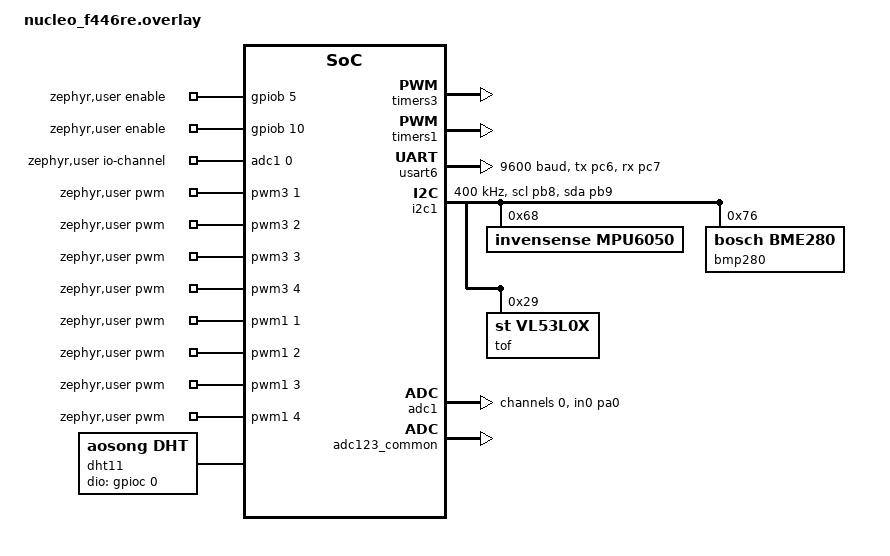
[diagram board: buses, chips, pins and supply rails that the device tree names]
#include <zephyr/dt-bindings/pwm/pwm.h>
#include <zephyr/dt-bindings/gpio/gpio.h>
#include <zephyr/dt-bindings/adc/adc.h>
#include <zephyr/dt-bindings/i2c/i2c.h>

/ {
	zephyr,user {
		/* 8 PWM lines, 20 kHz: FL_R FL_L FR_R FR_L RL_R RL_L RR_R RR_L */
		pwms = <&pwm3 1 PWM_HZ(20000) PWM_POLARITY_NORMAL>,   /* PA6  FL RPWM */
		       <&pwm3 2 PWM_HZ(20000) PWM_POLARITY_NORMAL>,   /* PA7  FL LPWM */
		       <&pwm3 3 PWM_HZ(20000) PWM_POLARITY_NORMAL>,   /* PB0  FR RPWM */
		       <&pwm3 4 PWM_HZ(20000) PWM_POLARITY_NORMAL>,   /* PB1  FR LPWM */
		       <&pwm1 1 PWM_HZ(20000) PWM_POLARITY_NORMAL>,   /* PA8  RL RPWM */
		       <&pwm1 2 PWM_HZ(20000) PWM_POLARITY_NORMAL>,   /* PA9  RL LPWM */
		       <&pwm1 3 PWM_HZ(20000) PWM_POLARITY_NORMAL>,   /* PA10 RR RPWM */
		       <&pwm1 4 PWM_HZ(20000) PWM_POLARITY_NORMAL>;   /* PA11 RR LPWM */

		/* index 0: R_EN on PB5, index 1: L_EN on PB10 */
		enable-gpios = <&gpiob 5 GPIO_ACTIVE_HIGH>,
			       <&gpiob 10 GPIO_ACTIVE_HIGH>;

		/* GPS on USART6: TX PC6, RX PC7 */
		gps-uart = <&usart6>;

		/* UV sensor on PA0 (ADC1 channel 0) */
		io-channels = <&adc1 0>;
	};

	/* DHT11 data pin on PC0 */
	dht11: dht11 {
		compatible = "aosong,dht";
		status = "okay";
		dio-gpios = <&gpioc 0 (GPIO_PULL_UP | GPIO_ACTIVE_HIGH)>;
	};
};

/* TIM3: front wheels */
&timers3 {
	status = "okay";

	pwm3: pwm {
		status = "okay";
		pinctrl-0 = <&tim3_ch1_pa6 &tim3_ch2_pa7 &tim3_ch3_pb0 &tim3_ch4_pb1>;
		pinctrl-names = "default";
	};
};

/* TIM1: rear wheels */
&timers1 {
	status = "okay";

	pwm1: pwm {
		status = "okay";
		pinctrl-0 = <&tim1_ch1_pa8 &tim1_ch2_pa9 &tim1_ch3_pa10 &tim1_ch4_pa11>;
		pinctrl-names = "default";
	};
};

/* GPS UART */
&usart6 {
	status = "okay";
	current-speed = <9600>;
	pinctrl-0 = <&usart6_tx_pc6 &usart6_rx_pc7>;
	pinctrl-names = "default";
};

/* I2C1 on PB8 (SCL) / PB9 (SDA): MPU6050 + BMP280 */
&i2c1 {
	status = "okay";
	clock-frequency = <I2C_BITRATE_FAST>;
	pinctrl-0 = <&i2c1_scl_pb8 &i2c1_sda_pb9>;
	pinctrl-names = "default";

	mpu6050: mpu6050@68 {
		compatible = "invensense,mpu6050";
		reg = <0x68>;
	};

	bmp280: bmp280@76 {
		compatible = "bosch,bme280";
		reg = <0x76>;
	};

  tof: vl53l0x@29 {
    compatible = "st,vl53l0x";
		reg = <0x29>;
  };
};

/* ADC1 for the UV sensor */
&adc1 {
	status = "okay";
	pinctrl-0 = <&adc1_in0_pa0>;
	pinctrl-names = "default";
	#address-cells = <1>;
	#size-cells = <0>;

	channel@0 {
		reg = <0>;
		zephyr,gain = "ADC_GAIN_1";
		zephyr,reference = "ADC_REF_INTERNAL";
		zephyr,acquisition-time = <ADC_ACQ_TIME_DEFAULT>;
		zephyr,resolution = <12>;
	};
};

&adc123_common {
	status = "okay";
	st,adc-prescaler = <2>;
};
